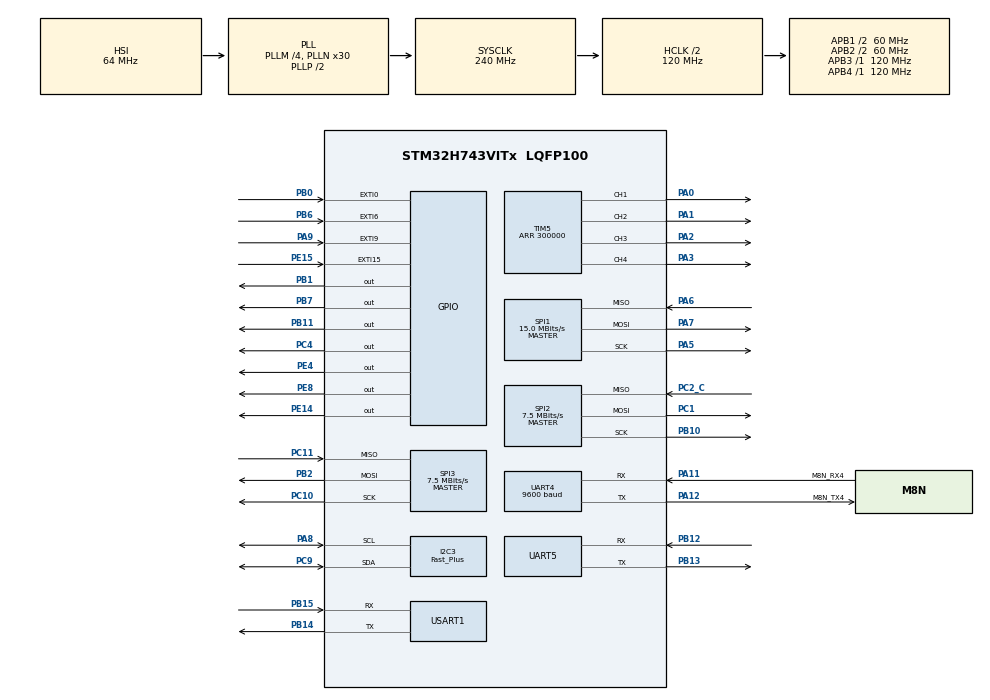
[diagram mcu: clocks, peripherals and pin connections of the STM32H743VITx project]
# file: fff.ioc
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CORTEX_M7.CPU_DCache=Disabled
CORTEX_M7.CPU_ICache=Disabled
CORTEX_M7.default_mode_Activation=1
Dma.I2C3_RX.0.Direction=DMA_PERIPH_TO_MEMORY
Dma.I2C3_RX.0.EventEnable=DISABLE
Dma.I2C3_RX.0.FIFOMode=DMA_FIFOMODE_DISABLE
Dma.I2C3_RX.0.Instance=DMA1_Stream0
Dma.I2C3_RX.0.MemDataAlignment=DMA_MDATAALIGN_BYTE
Dma.I2C3_RX.0.MemInc=DMA_MINC_ENABLE
Dma.I2C3_RX.0.Mode=DMA_NORMAL
Dma.I2C3_RX.0.PeriphDataAlignment=DMA_PDATAALIGN_BYTE
Dma.I2C3_RX.0.PeriphInc=DMA_PINC_DISABLE
Dma.I2C3_RX.0.Polarity=HAL_DMAMUX_REQ_GEN_RISING
Dma.I2C3_RX.0.Priority=DMA_PRIORITY_MEDIUM
Dma.I2C3_RX.0.RequestNumber=1
Dma.I2C3_RX.0.SignalID=NONE
Dma.I2C3_RX.0.SyncEnable=DISABLE
Dma.I2C3_RX.0.SyncPolarity=HAL_DMAMUX_SYNC_NO_EVENT
Dma.I2C3_RX.0.SyncRequestNumber=1
Dma.I2C3_RX.0.SyncSignalID=NONE
Dma.I2C3_TX.1.Direction=DMA_MEMORY_TO_PERIPH
Dma.I2C3_TX.1.EventEnable=DISABLE
Dma.I2C3_TX.1.FIFOMode=DMA_FIFOMODE_DISABLE
Dma.I2C3_TX.1.Instance=DMA1_Stream1
Dma.I2C3_TX.1.MemDataAlignment=DMA_MDATAALIGN_BYTE
Dma.I2C3_TX.1.MemInc=DMA_MINC_ENABLE
Dma.I2C3_TX.1.Mode=DMA_NORMAL
Dma.I2C3_TX.1.PeriphDataAlignment=DMA_PDATAALIGN_BYTE
Dma.I2C3_TX.1.PeriphInc=DMA_PINC_DISABLE
Dma.I2C3_TX.1.Polarity=HAL_DMAMUX_REQ_GEN_RISING
Dma.I2C3_TX.1.Priority=DMA_PRIORITY_MEDIUM
Dma.I2C3_TX.1.RequestNumber=1
Dma.I2C3_TX.1.SignalID=NONE
Dma.I2C3_TX.1.SyncEnable=DISABLE
Dma.I2C3_TX.1.SyncPolarity=HAL_DMAMUX_SYNC_NO_EVENT
Dma.I2C3_TX.1.SyncRequestNumber=1
Dma.I2C3_TX.1.SyncSignalID=NONE
Dma.Request0=I2C3_RX
Dma.Request1=I2C3_TX
Dma.Request2=SPI1_RX
Dma.Request3=SPI1_TX
Dma.Request4=SPI2_RX
Dma.Request5=SPI2_TX
Dma.SPI1_RX.2.Direction=DMA_PERIPH_TO_MEMORY
Dma.SPI1_RX.2.EventEnable=DISABLE
Dma.SPI1_RX.2.FIFOMode=DMA_FIFOMODE_DISABLE
Dma.SPI1_RX.2.Instance=DMA1_Stream2
Dma.SPI1_RX.2.MemDataAlignment=DMA_MDATAALIGN_BYTE
Dma.SPI1_RX.2.MemInc=DMA_MINC_ENABLE
Dma.SPI1_RX.2.Mode=DMA_NORMAL
Dma.SPI1_RX.2.PeriphDataAlignment=DMA_PDATAALIGN_BYTE
Dma.SPI1_RX.2.PeriphInc=DMA_PINC_DISABLE
Dma.SPI1_RX.2.Polarity=HAL_DMAMUX_REQ_GEN_RISING
Dma.SPI1_RX.2.Priority=DMA_PRIORITY_HIGH
Dma.SPI1_RX.2.RequestNumber=1
Dma.SPI1_RX.2.SignalID=NONE
Dma.SPI1_RX.2.SyncEnable=DISABLE
Dma.SPI1_RX.2.SyncPolarity=HAL_DMAMUX_SYNC_NO_EVENT
Dma.SPI1_RX.2.SyncRequestNumber=1
Dma.SPI1_RX.2.SyncSignalID=NONE
Dma.SPI1_TX.3.Direction=DMA_MEMORY_TO_PERIPH
Dma.SPI1_TX.3.EventEnable=DISABLE
Dma.SPI1_TX.3.FIFOMode=DMA_FIFOMODE_DISABLE
Dma.SPI1_TX.3.Instance=DMA1_Stream3
Dma.SPI1_TX.3.MemDataAlignment=DMA_MDATAALIGN_BYTE
Dma.SPI1_TX.3.MemInc=DMA_MINC_ENABLE
Dma.SPI1_TX.3.Mode=DMA_NORMAL
Dma.SPI1_TX.3.PeriphDataAlignment=DMA_PDATAALIGN_BYTE
Dma.SPI1_TX.3.PeriphInc=DMA_PINC_DISABLE
Dma.SPI1_TX.3.Polarity=HAL_DMAMUX_REQ_GEN_RISING
Dma.SPI1_TX.3.Priority=DMA_PRIORITY_HIGH
Dma.SPI1_TX.3.RequestNumber=1
Dma.SPI1_TX.3.SignalID=NONE
Dma.SPI1_TX.3.SyncEnable=DISABLE
Dma.SPI1_TX.3.SyncPolarity=HAL_DMAMUX_SYNC_NO_EVENT
Dma.SPI1_TX.3.SyncRequestNumber=1
Dma.SPI1_TX.3.SyncSignalID=NONE
Dma.SPI2_RX.4.Direction=DMA_PERIPH_TO_MEMORY
Dma.SPI2_RX.4.EventEnable=DISABLE
Dma.SPI2_RX.4.FIFOMode=DMA_FIFOMODE_DISABLE
Dma.SPI2_RX.4.Instance=DMA1_Stream4
Dma.SPI2_RX.4.MemDataAlignment=DMA_MDATAALIGN_BYTE
Dma.SPI2_RX.4.MemInc=DMA_MINC_ENABLE
Dma.SPI2_RX.4.Mode=DMA_NORMAL
Dma.SPI2_RX.4.PeriphDataAlignment=DMA_PDATAALIGN_BYTE
Dma.SPI2_RX.4.PeriphInc=DMA_PINC_DISABLE
Dma.SPI2_RX.4.Polarity=HAL_DMAMUX_REQ_GEN_RISING
Dma.SPI2_RX.4.Priority=DMA_PRIORITY_HIGH
Dma.SPI2_RX.4.RequestNumber=1
Dma.SPI2_RX.4.SignalID=NONE
Dma.SPI2_RX.4.SyncEnable=DISABLE
Dma.SPI2_RX.4.SyncPolarity=HAL_DMAMUX_SYNC_NO_EVENT
Dma.SPI2_RX.4.SyncRequestNumber=1
Dma.SPI2_RX.4.SyncSignalID=NONE
Dma.SPI2_TX.5.Direction=DMA_MEMORY_TO_PERIPH
Dma.SPI2_TX.5.EventEnable=DISABLE
Dma.SPI2_TX.5.FIFOMode=DMA_FIFOMODE_DISABLE
Dma.SPI2_TX.5.Instance=DMA1_Stream5
Dma.SPI2_TX.5.MemDataAlignment=DMA_MDATAALIGN_BYTE
Dma.SPI2_TX.5.MemInc=DMA_MINC_ENABLE
Dma.SPI2_TX.5.Mode=DMA_NORMAL
Dma.SPI2_TX.5.PeriphDataAlignment=DMA_PDATAALIGN_BYTE
Dma.SPI2_TX.5.PeriphInc=DMA_PINC_DISABLE
Dma.SPI2_TX.5.Polarity=HAL_DMAMUX_REQ_GEN_RISING
Dma.SPI2_TX.5.Priority=DMA_PRIORITY_HIGH
Dma.SPI2_TX.5.RequestNumber=1
Dma.SPI2_TX.5.SignalID=NONE
Dma.SPI2_TX.5.SyncEnable=DISABLE
Dma.SPI2_TX.5.SyncPolarity=HAL_DMAMUX_SYNC_NO_EVENT
Dma.SPI2_TX.5.SyncRequestNumber=1
Dma.SPI2_TX.5.SyncSignalID=NONE
I2C3.I2C_Speed_Mode=I2C_Fast_Plus
I2C3.Timing=0x00200A26
Mcu.Family=STM32H7
Mcu.Name=STM32H743VITx
Mcu.Package=LQFP100
NVIC.DMA1_Stream0_IRQn=true\:0\:0\:false\:false\:true\:false\:true\:true
NVIC.DMA1_Stream1_IRQn=true\:0\:0\:false\:false\:true\:false\:true\:true
NVIC.DMA1_Stream2_IRQn=true\:0\:0\:false\:false\:true\:false\:true\:true
NVIC.DMA1_Stream3_IRQn=true\:0\:0\:false\:false\:true\:false\:true\:true
NVIC.DMA1_Stream4_IRQn=true\:0\:0\:false\:false\:true\:false\:true\:true
NVIC.DMA1_Stream5_IRQn=true\:0\:0\:false\:false\:true\:false\:true\:true
NVIC.EXTI0_IRQn=true\:0\:0\:false\:false\:true\:true\:true\:true
NVIC.EXTI15_10_IRQn=true\:0\:0\:false\:false\:true\:true\:true\:true
NVIC.EXTI9_5_IRQn=true\:0\:0\:false\:false\:true\:true\:true\:true
NVIC.I2C3_ER_IRQn=true\:0\:0\:false\:false\:true\:true\:true\:true
NVIC.I2C3_EV_IRQn=true\:0\:0\:false\:false\:true\:true\:true\:true
NVIC.PriorityGroup=NVIC_PRIORITYGROUP_4
NVIC.SPI1_IRQn=true\:0\:0\:false\:false\:true\:true\:true\:true
NVIC.SPI2_IRQn=true\:0\:0\:false\:false\:true\:true\:true\:true
NVIC.SPI3_IRQn=true\:0\:0\:false\:false\:true\:true\:true\:true
NVIC.TIM2_IRQn=true\:0\:0\:false\:false\:true\:true\:true\:true
NVIC.UART4_IRQn=true\:0\:0\:false\:false\:true\:true\:true\:true
NVIC.UART5_IRQn=true\:0\:0\:false\:false\:true\:true\:true\:true
NVIC.USART1_IRQn=true\:0\:0\:false\:false\:true\:true\:true\:true
PA0.Signal=S_TIM5_CH1
PA1.Signal=S_TIM5_CH2
PA11.GPIO_Label=M8N_RX4
PA11.Mode=Asynchronous
PA11.Signal=UART4_RX
PA12.GPIO_Label=M8N_TX4
PA12.Mode=Asynchronous
PA12.Signal=UART4_TX
PA13\ (JTMS/SWDIO).Mode=Serial_Wire
PA13\ (JTMS/SWDIO).Signal=DEBUG_JTMS-SWDIO
PA14\ (JTCK/SWCLK).Mode=Serial_Wire
PA14\ (JTCK/SWCLK).Signal=DEBUG_JTCK-SWCLK
PA2.Signal=S_TIM5_CH3
PA3.Signal=S_TIM5_CH4
PA5.Mode=Full_Duplex_Master
PA5.Signal=SPI1_SCK
PA6.Mode=Full_Duplex_Master
PA6.Signal=SPI1_MISO
PA7.Mode=Full_Duplex_Master
PA7.Signal=SPI1_MOSI
PA8.GPIO_Pu=GPIO_PULLUP
PA8.Mode=I2C
PA8.Signal=I2C3_SCL
PA9.GPIO_ModeDefaultEXTI=GPIO_MODE_IT_RISING
PA9.GPIO_PuPd=GPIO_NOPULL
PA9.Signal=GPXTI9
PB0.GPIO_ModeDefaultEXTI=GPIO_MODE_IT_RISING
PB0.GPIO_PuPd=GPIO_NOPULL
PB0.Signal=GPXTI0
PB1.PinState=GPIO_PIN_SET
PB1.Signal=GPIO_Output
PB10.Mode=Full_Duplex_Master
PB10.Signal=SPI2_SCK
PB11.GPIO_PuPd=GPIO_NOPULL
PB11.PinState=GPIO_PIN_SET
PB11.Signal=GPIO_Output
PB12.Mode=Asynchronous
PB12.Signal=UART5_RX
PB13.Mode=Asynchronous
PB13.Signal=UART5_TX
PB14.Mode=Asynchronous
PB14.Signal=USART1_TX
PB15.Mode=Asynchronous
PB15.Signal=USART1_RX
PB2.Mode=Full_Duplex_Master
PB2.Signal=SPI3_MOSI
PB6.GPIO_PuPd=GPIO_PULLDOWN
PB6.Signal=GPXTI6
PB7.Signal=GPIO_Output
PB8.GPIO_Pu=GPIO_PULLUP
PB8.Signal=I2C1_SCL
PB9.GPIO_Pu=GPIO_PULLUP
PB9.Signal=I2C1_SDA
PC1.Mode=Full_Duplex_Master
PC1.Signal=SPI2_MOSI
PC10.Mode=Full_Duplex_Master
PC10.Signal=SPI3_SCK
PC11.Mode=Full_Duplex_Master
PC11.Signal=SPI3_MISO
PC2_C.Mode=Full_Duplex_Master
PC2_C.Signal=SPI2_MISO
PC4.PinState=GPIO_PIN_SET
PC4.Signal=GPIO_Output
PC9.GPIO_Pu=GPIO_PULLUP
PC9.Mode=I2C
PC9.Signal=I2C3_SDA
PE14.Signal=GPIO_Output
PE15.GPIO_PuPd=GPIO_NOPULL
PE15.Signal=GPXTI15
PE4.Signal=GPIO_Output
PE8.Signal=GPIO_Output
PH0-OSC_IN\ (PH0).Mode=HSE-External-Clock-Source
PH0-OSC_IN\ (PH0).Signal=RCC_OSC_IN
ProjectManager.HeapSize=0x200
ProjectManager.StackSize=0x400
ProjectManager.TargetToolchain=STM32CubeIDE
RCC.ADCFreq_Value=129000000
RCC.APB1Freq_Value=60000000
RCC.APB2Freq_Value=60000000
RCC.APB3Freq_Value=120000000
RCC.APB4Freq_Value=120000000
RCC.CortexFreq_Value=240000000
RCC.D2PPRE1=RCC_APB1_DIV2
RCC.D2PPRE2=RCC_APB2_DIV2
RCC.DIVM1=4
RCC.DIVN1=30
RCC.DIVQ1=4
RCC.HCLKFreq_Value=120000000
RCC.HPRE=RCC_HCLK_DIV2
RCC.PLL2FRACN=0
RCC.PLL3FRACN=0
RCC.PLLFRACN=0
RCC.SYSCLKFreq_VALUE=240000000
RCC.SYSCLKSource=RCC_SYSCLKSOURCE_PLLCLK
RCC.USBFreq_Value=120000000
SH.S_TIM5_CH1.0=TIM5_CH1,PWM Generation1 CH1
SH.S_TIM5_CH2.0=TIM5_CH2,PWM Generation2 CH2
SH.S_TIM5_CH3.0=TIM5_CH3,PWM Generation3 CH3
SH.S_TIM5_CH4.0=TIM5_CH4,PWM Generation4 CH4
SPI1.BaudRatePrescaler=SPI_BAUDRATEPRESCALER_8
SPI1.CLKPhase=SPI_PHASE_2EDGE
SPI1.CLKPolarity=SPI_POLARITY_HIGH
SPI1.CalculateBaudRate=15.0 MBits/s
SPI1.DataSize=SPI_DATASIZE_8BIT
SPI1.Direction=SPI_DIRECTION_2LINES
SPI1.Mode=SPI_MODE_MASTER
SPI1.VirtualType=VM_MASTER
SPI2.BaudRatePrescaler=SPI_BAUDRATEPRESCALER_16
SPI2.CLKPhase=SPI_PHASE_2EDGE
SPI2.CLKPolarity=SPI_POLARITY_HIGH
SPI2.CalculateBaudRate=7.5 MBits/s
SPI2.DataSize=SPI_DATASIZE_8BIT
SPI2.Direction=SPI_DIRECTION_2LINES
SPI2.Mode=SPI_MODE_MASTER
SPI2.VirtualType=VM_MASTER
SPI3.BaudRatePrescaler=SPI_BAUDRATEPRESCALER_16
SPI3.CLKPhase=SPI_PHASE_2EDGE
SPI3.CLKPolarity=SPI_POLARITY_HIGH
SPI3.CalculateBaudRate=7.5 MBits/s
SPI3.DataSize=SPI_DATASIZE_8BIT
SPI3.Direction=SPI_DIRECTION_2LINES
SPI3.Mode=SPI_MODE_MASTER
SPI3.VirtualType=VM_MASTER
TIM2.AutoReloadPreload=TIM_AUTORELOAD_PRELOAD_ENABLE
TIM2.Period=300000
TIM5.AutoReloadPreload=TIM_AUTORELOAD_PRELOAD_ENABLE
TIM5.Channel-PWM\ Generation1\ CH1=TIM_CHANNEL_1
TIM5.Channel-PWM\ Generation2\ CH2=TIM_CHANNEL_2
TIM5.Channel-PWM\ Generation3\ CH3=TIM_CHANNEL_3
TIM5.Channel-PWM\ Generation4\ CH4=TIM_CHANNEL_4
TIM5.OCFastMode_PWM-PWM\ Generation1\ CH1=TIM_OCFAST_ENABLE
TIM5.OCFastMode_PWM-PWM\ Generation2\ CH2=TIM_OCFAST_ENABLE
TIM5.OCFastMode_PWM-PWM\ Generation3\ CH3=TIM_OCFAST_ENABLE
TIM5.OCFastMode_PWM-PWM\ Generation4\ CH4=TIM_OCFAST_ENABLE
TIM5.Period=300000
TIM5.Pulse-PWM\ Generation1\ CH1=0
TIM5.Pulse-PWM\ Generation2\ CH2=0
TIM5.Pulse-PWM\ Generation3\ CH3=0
TIM5.Pulse-PWM\ Generation4\ CH4=0
UART4.BaudRate=9600
USART1.VirtualMode-Asynchronous=VM_ASYNC
VP_MEMORYMAP_VS_MEMORYMAP.Mode=CurAppReg
VP_TIM2_VS_ClockSourceINT.Mode=Internal
VP_TIM5_VS_ClockSourceINT.Mode=Internal
board=custom

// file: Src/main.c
/* USER CODE BEGIN Header */
/**
  ******************************************************************************
  * @file           : main.c
  * @brief          : Main program body
  ******************************************************************************
  * @attention
  *
  * Copyright (c) 2025 STMicroelectronics.
  * All rights reserved.
  *
  * This software is licensed under terms that can be found in the LICENSE file
  * in the root directory of this software component.
  * If no LICENSE file comes with this software, it is provided AS-IS.
  *
  ******************************************************************************
  */
/* USER CODE END Header */
#include "main.h"

/* USER CODE BEGIN Includes */
//#define USE_HAL_DRIVER
#define ARM_MATH_CM7
#include <arm_math.h>
#include <stdio.h>
#include <stm32h7xx_hal_gpio.h>
#include "stm32h7xx_ll_tim.h"
//#include "mpu6050.h"
//#include "mpu9250.h"
//#include "bmi160.h"
//#include "qmc5883.h"
//#include "dps310.h"
#include "icm45686.h"
#include "stm32h7xx_it.h"
#include "stm32h7xx_hal_i2c.h"
#include "fs-ia6b.h"
//#include "m8n.h"
#include <axis3f.h>
#include "notchfilter.h"
#include "lpf2p.h"
#include "pid.h"
//#include <kalman_core.h>

/* USER CODE END Includes */

/* USER CODE BEGIN PM */
extern int16_t x_acc, y_acc, z_acc;
extern int16_t x_gyro, y_gyro, z_gyro;
int8_t data_ready_flag = 0;
uint32_t start, stop;
float usICM, usBMI, usDPS, usM8N, usFS, usQMC, usInitNotchArdu, usInitNotchPhils, usFFT;

////when working on the PID controller code.
/////////////////pitch conntroller//////////////////////////
extern float icm_pitch, icm_roll;
extern float ICM_GX, ICM_GY, ICM_GZ;
//float pitch_reference, pitch_error, pitch_p;
//float pitch_error_sum, pitch_i;
//float pitch_derivative, pitch_d;
//int OuterLoop_counter = 0;
//float pitch_out_kp, pitch_out_ki, pitch_out_kd, pitch_pid;
////pitch rate controller
//float pitch_rate_reference, pitch_rate_error, pitch_rate_p;
//float pitch_rate_error_sum, pitch_rate_i;
//float pitch_rate_derivative, pitch_rate_d;
//float pitch_in_kp, pitch_in_ki, pitch_in_kd, pitch_rate_pid;
////variables for the heavy LPF for the pitch rate used in the D-term of the inner loop PID
//float Gx_filt, Gx_filt_prev, alpha;
//
//////////////roll controller////////////////
//float roll_reference, roll_error, roll_p;
//float roll_error_sum, roll_i;
//float roll_derivative, roll_d;
////int OuterLoop_counter = 0;
//float roll_out_kp, roll_out_ki, roll_out_kd, roll_pid;
////roll rate controller
//float roll_rate_reference, roll_rate_error, roll_rate_p;
//float roll_rate_error_sum, roll_rate_i;
//float roll_rate_derivative, pitch_rate_d;
//float roll_in_kp, roll_in_ki, roll_in_kd, roll_rate_pid;
////variables for the heavy LPF for the roll rate used in the D-term of the inner loop PID
//float Gy_filt, Gy_filt_prev;

//notchfilter
NotchFilterFloat First_Harmonic_Notch_GX,  First_Harmonic_Notch_GY,  First_Harmonic_Notch_GZ;
NotchFilterFloat Second_Harmonic_Notch_GX, Second_Harmonic_Notch_GY, Second_Harmonic_Notch_GZ;
NotchFilterFloat Third_Harmonic_Notch_GX,  Third_Harmonic_Notch_GY,  Third_Harmonic_Notch_GZ;

//LPF2P
lpf2pData lpfData_GX, lpfData_GY, lpfData_GZ;

/* USER CODE END PM */

I2C_HandleTypeDef hi2c3;
DMA_HandleTypeDef hdma_i2c3_rx;
DMA_HandleTypeDef hdma_i2c3_tx;

SPI_HandleTypeDef hspi1;
SPI_HandleTypeDef hspi2;
SPI_HandleTypeDef hspi3;
DMA_HandleTypeDef hdma_spi1_rx;
DMA_HandleTypeDef hdma_spi1_tx;
DMA_HandleTypeDef hdma_spi2_rx;
DMA_HandleTypeDef hdma_spi2_tx;

TIM_HandleTypeDef htim2;

/* USER CODE BEGIN PV */
extern uint8_t uart1_rx_flag;
extern uint8_t uart1_rx_data;
extern uint8_t data_ready;
extern char rx_buffer[20];

extern uint8_t uart4_rx_flag;
extern uint8_t uart4_rx_data;

extern uint8_t uart5_rx_flag;
extern uint8_t uart5_rx_data;

extern uint8_t m8n_rx_buf[36];			//36-byte which is the size of 1-UBX-message frame
extern uint8_t m8n_rx_cplt_flag;		//flag to see that the recieving is completed

extern uint8_t ibus_rx_buf[100];
extern uint8_t ibus_rx_cplt_flag;

extern uint8_t tim2_2500us_flag;
extern uint8_t tim2_1s_flag;

//extern int lv;

//qmc5883p---magnetometer
extern uint8_t I2C_QMC5883P_DMA_data_ready_flag;
extern uint8_t QMC_MAG_rxData[6];

//icm45686
extern uint8_t ICM45686_INT_FLAG;

//BMI160
extern uint8_t BMI160_INT_FLAG;

//FFT variables
#define FFT_LENGTH 512
#define SAMPLING_RATE 1600

float32_t input_fft[FFT_LENGTH];
float32_t output_fft[FFT_LENGTH];
float32_t output_fft_mag[FFT_LENGTH / 2];

arm_rfft_fast_instance_f32 fft_instance;

float FFT_MAX_FREQ = 0;
float FFT_MAX_FREQ_MAG = 0;
float FFT_MAX_FREQ_PREV = 0;
//float FFT_MAG_VALUES = 0;

/* USER CODE END PV */

void SystemClock_Config(void);
static void MPU_Config(void);
static void MX_GPIO_Init(void);
static void MX_DMA_Init(void);
static void MX_USART1_UART_Init(void);
static void MX_SPI1_Init(void);
static void MX_SPI2_Init(void);
static void MX_SPI3_Init(void);
static void MX_UART4_Init(void);
static void MX_UART5_Init(void);
static void MX_I2C3_Init(void);
static void MX_TIM5_Init(void);
static void MX_TIM2_Init(void);
/* USER CODE BEGIN PFP */
int Is_iBus_Throttle_Min(void);
/* USER CODE END PFP */

/* USER CODE BEGIN 0 */

int _write(int file, char* p, int len)
{
	for(int i=0; i<len; i++)
	{

		if (p[i] == '\n') {
		    while(!LL_USART_IsActiveFlag_TXE(USART1));
		       LL_USART_TransmitData8(USART1, '\r');   // add CR before LF
		}

		while(!LL_USART_IsActiveFlag_TXE(USART1));
		LL_USART_TransmitData8(USART1, *(p+i));

	}
	return len;
}

//Struct_BMI160 BMI160;
//Struct_DPS310 DPS310;
Struct_ICM45686 ICM45686;
//Struct_QMC5883P QMC5883P;

//kalmanCoreData_t this;
//kalmanCoreParams_t params;

Axis3f icm45686_gyro;
Axis3f icm45686_acc;
Axis3f_Bias gyro_bias, acc_bias;

Axis3f bmi160_gyro;
Axis3f bmi160_acc;

//int debugcounter1;
unsigned int ccr1, ccr2, ccr3, ccr4;

//float aaa=0;
//float32_t ab[3][2];
/* USER CODE END 0 */

int main(void)
{

  /* MPU Configuration--------------------------------------------------------*/
  MPU_Config();

  /* MCU Configuration--------------------------------------------------------*/

  /* Reset of all peripherals, Initializes the Flash interface and the Systick. */
  HAL_Init();

  /* Configure the system clock */
  SystemClock_Config();
  HAL_Delay(3000);

  /* Initialize all configured peripherals */
  MX_GPIO_Init();
  MX_DMA_Init();
  MX_USART1_UART_Init();
  MX_SPI1_Init();
  MX_SPI2_Init();
  MX_SPI3_Init();
  MX_UART4_Init();
  MX_UART5_Init();
  MX_I2C3_Init();
  MX_TIM5_Init();
  MX_TIM2_Init();
  /* USER CODE BEGIN 2 */

  	LL_USART_EnableIT_RXNE_RXFNE(UART5);
  	LL_USART_EnableIT_RXNE_RXFNE(USART1);
  	LL_USART_EnableIT_RXNE_RXFNE(UART4);

  	//M8N_Initialization();
  	ICM45686_Initialization();
  	//BMI160_Initialization1();
  	//DPS310_Initialization();
  	//QMC5883P_Initialization(&hi2c3);
  	//MPU6050_Init(&hi2c1);
  	//MPU9250_Init(&MPU9250, dev,  accScale,  gyroScale,  magScale);

  	lpf2pInit(&lpfData_GX, 1600, 100);
  	lpf2pInit(&lpfData_GY, 1600, 100);
  	lpf2pInit(&lpfData_GZ, 1600, 100);

  	LL_TIM_EnableCounter(TIM2);
  	LL_TIM_EnableIT_UPDATE(TIM2);
  	LL_TIM_EnableCounter(TIM5);
  	LL_TIM_CC_EnableChannel(TIM5, LL_TIM_CHANNEL_CH1);
  	LL_TIM_CC_EnableChannel(TIM5, LL_TIM_CHANNEL_CH2);
  	LL_TIM_CC_EnableChannel(TIM5, LL_TIM_CHANNEL_CH3);
  	LL_TIM_CC_EnableChannel(TIM5, LL_TIM_CHANNEL_CH4);

	while(Is_iBus_Throttle_Min() == 0);

  	// Enable DWT CYCCNT
  	CoreDebug->DEMCR |= CoreDebug_DEMCR_TRCENA_Msk;
  	DWT->CYCCNT = 0;
  	DWT->CTRL |= DWT_CTRL_CYCCNTENA_Msk;

	//uint32_t nowMs = 0;
//  	int dt=0;
//	int quadisflying=0;
//	predictDt(&this, &params,&acc, &gyro, dt, quadisflying);
  	//kalmanCoreDefaultParams(&params);
  	//kalmanCoreInit(&this, &params, nowMs);

  	//arm_rfft_fast_init_f32(&fft_instance, FFT_LENGTH);
  	int fft_counter = 0;
  	//float ffff;

  	float kp=0, ki=0, kd=0;

  	pitch.out.kp = 1.5;
    pitch.out.ki = 0;
    pitch.out.kd = 0;
    pitch.in.kp  = 400;
    pitch.in.ki  = 250;
    pitch.in.kd  = 1;
    pitch.out.outer_loop_counter = 0;

    roll.out.kp  = 1.5;
    roll.out.ki  = 0;
    roll.out.kd  = 0;
    roll.in.kp   = 400;
    roll.in.ki   = 250;
    roll.in.kd   = 1;
    roll.out.outer_loop_counter = 0;

   // yaw.out.kp  = 1.1;
	//yaw.out.ki  = 0;
	//yaw.out.kd  = 0;
	yaw_rate.kp   = 100;
	yaw_rate.ki   = 20;
	yaw_rate.kd   = 0;
	//yaw.out.outer_loop_counter = 0;

  /* USER CODE END 2 */

  /* Infinite loop */
  while (1)
  {

    /* USER CODE BEGIN 3 */
	  //start = DWT->CYCCNT;

	  if(tim2_1s_flag == 0)
	  {fft_counter = 0;}

	  if (data_ready)
	  {
	      data_ready = 0;
	      sscanf(rx_buffer, "%f,%f,%f", &kp, &ki, &kd);
	  }

//	  pitch_out_kp	=	1.1;
//	  pitch_out_ki	=	0;
//	  pitch_out_kd	=	0;
//
//	  pitch_in_kp	=	700;
//	  pitch_in_ki	=	300;
//	  pitch_in_kd	=	0;

	  // 400 Hz loop (every 0.0025s)
	  if(tim2_2500us_flag == 1)
	  {

		  tim2_2500us_flag = 0;
		  //OuterLoop_counter++;
		  // HAL_GPIO_TogglePin(GPIOE, GPIO_PIN_8);

		  Double_Roll_Pitch_PID_Calculation(&pitch, (iBus.RV - 1500) * 0.05f, icm_pitch - 0.5, ICM_GX);
		  Double_Roll_Pitch_PID_Calculation(&roll, (iBus.RH - 1500) * 0.05f, icm_roll - 1.0, ICM_GY);

		  if(iBus.LV < 1030)
		  {
			  Reset_All_PID_Integrator();
		  }

		  Single_Yaw_Rate_PID_Calculation(&yaw_rate, (iBus.LH - 1500) * 0.5f, ICM_GZ);

		  // 200 Hz loop (every 0.005s)
//		  if(OuterLoop_counter % 2 == 0)
//		  {
//
//
//			  pitch_reference = (iBus.RV - 1500) * 0.05f;	//mapping the RV stick to pitch target angle
//			  pitch_error = pitch_reference - icm_pitch;
//			  pitch_p = pitch_error * pitch_out_kp;
//
//			  pitch_error_sum = pitch_error_sum + pitch_error * 0.01;
//			  if(iBus.LV < 1030) pitch_error_sum = 0;
//			  pitch_i = pitch_error_sum * pitch_out_ki;
//
//			  pitch_derivative = ICM_GX;
//			  pitch_d = -pitch_derivative * pitch_out_kd;
//
//			  pitch_pid = pitch_p + pitch_i + pitch_d;
//		  }
//
//		  pitch_rate_reference = pitch_pid;//((iBus.RV - 1500) * 0.1f);//pitch_pid;//(((iBus.RV - 1500) * 0.1f) - icm_pitch) * 2;
//		  pitch_rate_error = pitch_rate_reference - ICM_GX;
//		  pitch_rate_p = pitch_rate_error * pitch_in_kp;
//
//
//		  pitch_rate_error_sum = pitch_rate_error_sum + pitch_rate_error * 0.0025;
//		  if(iBus.LV < 1030) pitch_rate_error_sum = 0;
//		  pitch_rate_i = pitch_rate_error_sum * pitch_in_ki;
//
//		  alpha = 0.24;	// Fc = 20hz, sampling at 400hz
//		  Gx_filt = (1 - alpha) * Gx_filt + alpha * ICM_GX;
//		  pitch_rate_derivative = (Gx_filt - Gx_filt_prev) / 0.0025;//if you want to use the D-term you should use heavy LPF only for the rate needed in
//		  Gx_filt_prev = Gx_filt;									//the D term, Fc = 20hz
//		  pitch_rate_d = -pitch_rate_derivative * pitch_in_kd;
//
//		  pitch_rate_pid = pitch_rate_p + pitch_rate_i + pitch_rate_d;

//		  ccr1 = 120000 + (iBus.LV - 1000) * 120 - pitch_rate_pid;
//		  ccr2 = 120000 + (iBus.LV - 1000) * 120 + pitch_rate_pid;
//		  ccr3 = 120000 + (iBus.LV - 1000) * 120 + pitch_rate_pid;
//		  ccr4 = 120000 + (iBus.LV - 1000) * 120 - pitch_rate_pid;

		  ccr1 = 120000 + (iBus.LV - 1000) * 120 - pitch.in.pid_result + roll.in.pid_result - yaw_rate.pid_result;
		  ccr2 = 120000 + (iBus.LV - 1000) * 120 + pitch.in.pid_result + roll.in.pid_result + yaw_rate.pid_result;
		  ccr3 = 120000 + (iBus.LV - 1000) * 120 + pitch.in.pid_result - roll.in.pid_result - yaw_rate.pid_result;
		  ccr4 = 120000 + (iBus.LV - 1000) * 120 - pitch.in.pid_result - roll.in.pid_result + yaw_rate.pid_result;

	  }

	  //start = DWT->CYCCNT;
	  //BMI160
//	  if (BMI160_INT_FLAG)
//	  {
//		  start = DWT->CYCCNT;
//		  BMI160_Get6AxisRawData(&BMI160, &bmi160_gyro, &bmi160_acc);
//		  stop = DWT->CYCCNT;
//		  usBMI = (stop - start) / (SystemCoreClock / 1000000.0f); // convert to microseconds
//
//		  BMI160_INT_FLAG = 0;
//		  HAL_GPIO_TogglePin(GPIOE, GPIO_PIN_14);
//	  }

	  //ICM45686
	  //if (HAL_GPIO_ReadPin(GPIOB, GPIO_PIN_0) == GPIO_PIN_SET)

	  if (ICM45686_INT_FLAG)
	  {
		//start = DWT->CYCCNT;
		ICM45686_Get3AxisGyroRawData(&ICM45686, &icm45686_gyro, &icm45686_acc, &gyro_bias);
		//stop = DWT->CYCCNT;
		//usICM = (stop - start) / (SystemCoreClock / 1000000.0f); // convert to microseconds

		//fft_counter is define directly under the initialization of fft
		if(tim2_1s_flag == 1)
		{
			if( fft_counter < FFT_LENGTH)
			{
				//if (ICM45686_INT_FLAG)
				//{
					//ICM45686_Get3AxisGyroRawData(&ICM45686, &icm45686_gyro, &icm45686_acc, &gyro_bias);
					input_fft[fft_counter] = ICM_GX;
					fft_counter++;
				//}
			}
			if(fft_counter == FFT_LENGTH)
			{
				fft_counter++;
				//if(iBus.SwC != 1500)
				//{
					//start = DWT->CYCCNT;
					arm_rfft_fast_f32(&fft_instance, input_fft, output_fft, 0);
					arm_cmplx_mag_f32(output_fft, output_fft_mag, FFT_LENGTH/2);
					//stop = DWT->CYCCNT;
					//usFFT = (stop - start) / (SystemCoreClock / 1000000.0f); // convert to microseconds
				//}
				FFT_MAX_FREQ_MAG = 0;
				for(int fft_counter1 = 1; fft_counter1 < FFT_LENGTH/2; fft_counter1++)
				{
					//if(iBus.SwC == 1500)
					//{
						//printf("%f\n", output_fft_mag[fft_counter1]);
						//FFT_MAG_VALUES = output_fft_mag[fft_counter1];
					//}
					if(output_fft_mag[fft_counter1] > FFT_MAX_FREQ_MAG)					//computing the the frequency with maximum magnitude to be notched(mototrs freq)
					{
						FFT_MAX_FREQ = fft_counter1 * ((float)SAMPLING_RATE / FFT_LENGTH);
						FFT_MAX_FREQ_MAG = output_fft_mag[fft_counter1];
					}
					if(FFT_MAX_FREQ > 60    ||  FFT_MAX_FREQ < 30)						//when the motors frequeuncy notched it is no more maximum
					{																	//so this conditions to preserve on the notch frequency to stay at motors freq
						FFT_MAX_FREQ = FFT_MAX_FREQ_PREV;
					}
					else
					{
						FFT_MAX_FREQ_PREV = FFT_MAX_FREQ;
					}
				}
					//start = DWT->CYCCNT;
//					NotchFilter_Init(&notchFilt, FFT_MAX_FREQ, 10, SAMPLING_RATE);
//					stop = DWT->CYCCNT;
//					usInitNotchPhils = (stop - start) / (SystemCoreClock / 1000000.0f); // convert to microseconds
					//start = DWT->CYCCNT;
					notch_init(&First_Harmonic_Notch_GX,  1600,  FFT_MAX_FREQ,  20,  40);
					notch_init(&First_Harmonic_Notch_GY,  1600,  FFT_MAX_FREQ,  20,  40);
					notch_init(&First_Harmonic_Notch_GZ,  1600,  FFT_MAX_FREQ,  20,  40);
					//stop = DWT->CYCCNT;
					//usInitNotchArdu = (stop - start) / (SystemCoreClock / 1000000.0f); // convert to microseconds
					notch_init(&Second_Harmonic_Notch_GX,  1600,  FFT_MAX_FREQ * 2,  20,  40);
					notch_init(&Second_Harmonic_Notch_GY,  1600,  FFT_MAX_FREQ * 2,  20,  40);
					notch_init(&Second_Harmonic_Notch_GZ,  1600,  FFT_MAX_FREQ * 2,  20,  40);

					notch_init(&Third_Harmonic_Notch_GX,  1600,  FFT_MAX_FREQ * 3,  20,  40);
					notch_init(&Third_Harmonic_Notch_GY,  1600,  FFT_MAX_FREQ * 3,  20,  40);
					notch_init(&Third_Harmonic_Notch_GZ,  1600,  FFT_MAX_FREQ * 3,  20,  40);
					//stop = DWT->CYCCNT;
					//usInitNotchArdu = (stop - start) / (SystemCoreClock / 1000000.0f); // convert to microseconds

				tim2_1s_flag = 0;

			}

		}

		ICM45686_INT_FLAG = 0;
	  	//HAL_GPIO_TogglePin(GPIOE, GPIO_PIN_8);

	  	//int dt=0;
	  	//int quadisflying=0;
	  	//predictDt(&this, &params,&acc, &gyro, dt, quadisflying);
	  }

	  //DPS310
	  //start = DWT->CYCCNT;///////////////////////////////////////////////////////////////////////////////////////////
	  //DPS310_GetTempPres(&DPS310);////////////////////////////////////////////////////////////////////////////////////////////////////////////////////////////////////////////////////
	  //stop = DWT->CYCCNT;///////////////////////////////////////////////////////////////////////////////////////////////////////////////
	  //usDPS = (stop - start) / (SystemCoreClock / 1000000.0f); // convert to microseconds

	  //QCM5883P
//	  if(I2C_QMC5883P_DMA_data_ready_flag)
//	  {
//		  if (HAL_I2C_GetState(&hi2c3) == HAL_I2C_STATE_READY)
//		  {
//			  I2C_QMC5883P_DMA_data_ready_flag = 0;
//			  start = DWT->CYCCNT;
//			  QMC5883P_Get3AxisGyroRawData(&QMC5883P, QMC_MAG_rxData);
//			  stop = DWT->CYCCNT;
//			  usQMC = (stop - start) / (SystemCoreClock / 1000000.0f); // convert to microseconds
//		  }
//	  }

//	  //code for the gps
//	  if(m8n_rx_cplt_flag == 1)
//	  {
//		  m8n_rx_cplt_flag = 0;
//		  if(M8N_UBX_CHKSUM_Check(&m8n_rx_buf[0], 100) == 1)
//		  {
//			  //start = DWT->CYCCNT;
//			  M8N_UBX_NAV_PVT_Parsing(&m8n_rx_buf[0], &pvt);
//			  //stop = DWT->CYCCNT;
//			  //usM8N = (stop - start) / (SystemCoreClock / 1000000.0f); // convert to microseconds
//		  }
//	  }

	  //code for the ibus
	  if(ibus_rx_cplt_flag == 1)
	  {
		  ibus_rx_cplt_flag = 0;
		  if(iBus_Check_CHKSUM(&ibus_rx_buf[0], 32) == 1)
		  {
			  //start = DWT->CYCCNT;
			  iBus_Parsing(&ibus_rx_buf[0], &iBus);
			  //stop = DWT->CYCCNT;
			  //usFS = (stop - start) / (SystemCoreClock / 1000000.0f); // convert to microseconds

			  if(iBus_isActiveFailsafe(&iBus) == 1)
			  {
				  //counter1--;	//if falesafe is happenning decreasment the counter by one
			  }
			  else
			  {
				  //counter1++;
			  }
		  }
	  }

	  if(iBus.LV > 1030)
	  {
		  TIM5->CCR1 = ccr1 > 240000 ? 240000 : ccr1 < 120000 ? 120000 : ccr1;
		  TIM5->CCR2 = ccr2 > 240000 ? 240000 : ccr2 < 120000 ? 120000 : ccr2;
		  TIM5->CCR3 = ccr3 > 240000 ? 240000 : ccr3 < 120000 ? 120000 : ccr3;
		  TIM5->CCR4 = ccr4 > 240000 ? 240000 : ccr4 < 120000 ? 120000 : ccr4;
	  }
	  else
	  {
		  TIM5->CCR1 = 120000;
		  TIM5->CCR2 = 120000;
		  TIM5->CCR3 = 120000;
		  TIM5->CCR4 = 120000;
	  }
//	  stop = DWT->CYCCNT;
//	  usBMI = (stop - start) / (SystemCoreClock / 1000000.0f); // convert to microseconds

  }
  /* USER CODE END 3 */
}

void SystemClock_Config(void)
{
  RCC_OscInitTypeDef RCC_OscInitStruct = {0};
  RCC_ClkInitTypeDef RCC_ClkInitStruct = {0};

  /** Supply configuration update enable
  */
  HAL_PWREx_ConfigSupply(PWR_LDO_SUPPLY);

  /** Configure the main internal regulator output voltage
  */
  __HAL_PWR_VOLTAGESCALING_CONFIG(PWR_REGULATOR_VOLTAGE_SCALE2);

  while(!__HAL_PWR_GET_FLAG(PWR_FLAG_VOSRDY)) {}

  /** Initializes the RCC Oscillators according to the specified parameters
  * in the RCC_OscInitTypeDef structure.
  */
  RCC_OscInitStruct.OscillatorType = RCC_OSCILLATORTYPE_HSI;
  RCC_OscInitStruct.HSIState = RCC_HSI_DIV1;
  RCC_OscInitStruct.HSICalibrationValue = RCC_HSICALIBRATION_DEFAULT;
  RCC_OscInitStruct.PLL.PLLState = RCC_PLL_ON;
  RCC_OscInitStruct.PLL.PLLSource = RCC_PLLSOURCE_HSI;
  RCC_OscInitStruct.PLL.PLLM = 4;
  RCC_OscInitStruct.PLL.PLLN = 30;
  RCC_OscInitStruct.PLL.PLLP = 2;
  RCC_OscInitStruct.PLL.PLLQ = 4;
  RCC_OscInitStruct.PLL.PLLR = 2;
  RCC_OscInitStruct.PLL.PLLRGE = RCC_PLL1VCIRANGE_3;
  RCC_OscInitStruct.PLL.PLLVCOSEL = RCC_PLL1VCOWIDE;
  RCC_OscInitStruct.PLL.PLLFRACN = 0;
  if (HAL_RCC_OscConfig(&RCC_OscInitStruct) != HAL_OK)
  {
    Error_Handler();
  }

  /** Initializes the CPU, AHB and APB buses clocks
  */
  RCC_ClkInitStruct.ClockType = RCC_CLOCKTYPE_HCLK|RCC_CLOCKTYPE_SYSCLK
                              |RCC_CLOCKTYPE_PCLK1|RCC_CLOCKTYPE_PCLK2
                              |RCC_CLOCKTYPE_D3PCLK1|RCC_CLOCKTYPE_D1PCLK1;
  RCC_ClkInitStruct.SYSCLKSource = RCC_SYSCLKSOURCE_PLLCLK;
  RCC_ClkInitStruct.SYSCLKDivider = RCC_SYSCLK_DIV1;
  RCC_ClkInitStruct.AHBCLKDivider = RCC_HCLK_DIV2;
  RCC_ClkInitStruct.APB3CLKDivider = RCC_APB3_DIV1;
  RCC_ClkInitStruct.APB1CLKDivider = RCC_APB1_DIV2;
  RCC_ClkInitStruct.APB2CLKDivider = RCC_APB2_DIV2;
  RCC_ClkInitStruct.APB4CLKDivider = RCC_APB4_DIV1;

  if (HAL_RCC_ClockConfig(&RCC_ClkInitStruct, FLASH_LATENCY_2) != HAL_OK)
  {
    Error_Handler();
  }
}

static void MX_I2C3_Init(void)
{

  hi2c3.Instance = I2C3;
  hi2c3.Init.Timing = 0x00200A26;
  hi2c3.Init.OwnAddress1 = 0;
  hi2c3.Init.AddressingMode = I2C_ADDRESSINGMODE_7BIT;
  hi2c3.Init.DualAddressMode = I2C_DUALADDRESS_DISABLE;
  hi2c3.Init.OwnAddress2 = 0;
  hi2c3.Init.OwnAddress2Masks = I2C_OA2_NOMASK;
  hi2c3.Init.GeneralCallMode = I2C_GENERALCALL_DISABLE;
  hi2c3.Init.NoStretchMode = I2C_NOSTRETCH_DISABLE;
  if (HAL_I2C_Init(&hi2c3) != HAL_OK)
  {
    Error_Handler();
  }

  /** Configure Analogue filter
  */
  if (HAL_I2CEx_ConfigAnalogFilter(&hi2c3, I2C_ANALOGFILTER_ENABLE) != HAL_OK)
  {
    Error_Handler();
  }

  /** Configure Digital filter
  */
  if (HAL_I2CEx_ConfigDigitalFilter(&hi2c3, 0) != HAL_OK)
  {
    Error_Handler();
  }

  /** I2C Enable Fast Mode Plus
  */
  HAL_I2CEx_EnableFastModePlus(I2C_FASTMODEPLUS_I2C3);

}

static void MX_SPI1_Init(void)
{

  /* SPI1 parameter configuration*/
  hspi1.Instance = SPI1;
  hspi1.Init.Mode = SPI_MODE_MASTER;
  hspi1.Init.Direction = SPI_DIRECTION_2LINES;
  hspi1.Init.DataSize = SPI_DATASIZE_8BIT;
  hspi1.Init.CLKPolarity = SPI_POLARITY_HIGH;
  hspi1.Init.CLKPhase = SPI_PHASE_2EDGE;
  hspi1.Init.NSS = SPI_NSS_SOFT;
  hspi1.Init.BaudRatePrescaler = SPI_BAUDRATEPRESCALER_8;
  hspi1.Init.FirstBit = SPI_FIRSTBIT_MSB;
  hspi1.Init.TIMode = SPI_TIMODE_DISABLE;
  hspi1.Init.CRCCalculation = SPI_CRCCALCULATION_DISABLE;
  hspi1.Init.CRCPolynomial = 0x0;
  hspi1.Init.NSSPMode = SPI_NSS_PULSE_ENABLE;
  hspi1.Init.NSSPolarity = SPI_NSS_POLARITY_LOW;
  hspi1.Init.FifoThreshold = SPI_FIFO_THRESHOLD_01DATA;
  hspi1.Init.TxCRCInitializationPattern = SPI_CRC_INITIALIZATION_ALL_ZERO_PATTERN;
  hspi1.Init.RxCRCInitializationPattern = SPI_CRC_INITIALIZATION_ALL_ZERO_PATTERN;
  hspi1.Init.MasterSSIdleness = SPI_MASTER_SS_IDLENESS_00CYCLE;
  hspi1.Init.MasterInterDataIdleness = SPI_MASTER_INTERDATA_IDLENESS_00CYCLE;
  hspi1.Init.MasterReceiverAutoSusp = SPI_MASTER_RX_AUTOSUSP_DISABLE;
  hspi1.Init.MasterKeepIOState = SPI_MASTER_KEEP_IO_STATE_DISABLE;
  hspi1.Init.IOSwap = SPI_IO_SWAP_DISABLE;
  if (HAL_SPI_Init(&hspi1) != HAL_OK)
  {
    Error_Handler();
  }

}

static void MX_SPI2_Init(void)
{

  /* SPI2 parameter configuration*/
  hspi2.Instance = SPI2;
  hspi2.Init.Mode = SPI_MODE_MASTER;
  hspi2.Init.Direction = SPI_DIRECTION_2LINES;
  hspi2.Init.DataSize = SPI_DATASIZE_8BIT;
  hspi2.Init.CLKPolarity = SPI_POLARITY_HIGH;
  hspi2.Init.CLKPhase = SPI_PHASE_2EDGE;
  hspi2.Init.NSS = SPI_NSS_SOFT;
  hspi2.Init.BaudRatePrescaler = SPI_BAUDRATEPRESCALER_16;
  hspi2.Init.FirstBit = SPI_FIRSTBIT_MSB;
  hspi2.Init.TIMode = SPI_TIMODE_DISABLE;
  hspi2.Init.CRCCalculation = SPI_CRCCALCULATION_DISABLE;
  hspi2.Init.CRCPolynomial = 0x0;
  hspi2.Init.NSSPMode = SPI_NSS_PULSE_ENABLE;
  hspi2.Init.NSSPolarity = SPI_NSS_POLARITY_LOW;
  hspi2.Init.FifoThreshold = SPI_FIFO_THRESHOLD_01DATA;
  hspi2.Init.TxCRCInitializationPattern = SPI_CRC_INITIALIZATION_ALL_ZERO_PATTERN;
  hspi2.Init.RxCRCInitializationPattern = SPI_CRC_INITIALIZATION_ALL_ZERO_PATTERN;
  hspi2.Init.MasterSSIdleness = SPI_MASTER_SS_IDLENESS_00CYCLE;
  hspi2.Init.MasterInterDataIdleness = SPI_MASTER_INTERDATA_IDLENESS_00CYCLE;
  hspi2.Init.MasterReceiverAutoSusp = SPI_MASTER_RX_AUTOSUSP_DISABLE;
  hspi2.Init.MasterKeepIOState = SPI_MASTER_KEEP_IO_STATE_DISABLE;
  hspi2.Init.IOSwap = SPI_IO_SWAP_DISABLE;
  if (HAL_SPI_Init(&hspi2) != HAL_OK)
  {
    Error_Handler();
  }

}

static void MX_SPI3_Init(void)
{

  /* SPI3 parameter configuration*/
  hspi3.Instance = SPI3;
  hspi3.Init.Mode = SPI_MODE_MASTER;
  hspi3.Init.Direction = SPI_DIRECTION_2LINES;
  hspi3.Init.DataSize = SPI_DATASIZE_8BIT;
  hspi3.Init.CLKPolarity = SPI_POLARITY_HIGH;
  hspi3.Init.CLKPhase = SPI_PHASE_2EDGE;
  hspi3.Init.NSS = SPI_NSS_SOFT;
  hspi3.Init.BaudRatePrescaler = SPI_BAUDRATEPRESCALER_16;
  hspi3.Init.FirstBit = SPI_FIRSTBIT_MSB;
  hspi3.Init.TIMode = SPI_TIMODE_DISABLE;
  hspi3.Init.CRCCalculation = SPI_CRCCALCULATION_DISABLE;
  hspi3.Init.CRCPolynomial = 0x0;
  hspi3.Init.NSSPMode = SPI_NSS_PULSE_ENABLE;
  hspi3.Init.NSSPolarity = SPI_NSS_POLARITY_LOW;
  hspi3.Init.FifoThreshold = SPI_FIFO_THRESHOLD_01DATA;
  hspi3.Init.TxCRCInitializationPattern = SPI_CRC_INITIALIZATION_ALL_ZERO_PATTERN;
  hspi3.Init.RxCRCInitializationPattern = SPI_CRC_INITIALIZATION_ALL_ZERO_PATTERN;
  hspi3.Init.MasterSSIdleness = SPI_MASTER_SS_IDLENESS_00CYCLE;
  hspi3.Init.MasterInterDataIdleness = SPI_MASTER_INTERDATA_IDLENESS_00CYCLE;
  hspi3.Init.MasterReceiverAutoSusp = SPI_MASTER_RX_AUTOSUSP_DISABLE;
  hspi3.Init.MasterKeepIOState = SPI_MASTER_KEEP_IO_STATE_DISABLE;
  hspi3.Init.IOSwap = SPI_IO_SWAP_DISABLE;
  if (HAL_SPI_Init(&hspi3) != HAL_OK)
  {
    Error_Handler();
  }

}

static void MX_TIM2_Init(void)
{

  TIM_ClockConfigTypeDef sClockSourceConfig = {0};
  TIM_MasterConfigTypeDef sMasterConfig = {0};

  htim2.Instance = TIM2;
  htim2.Init.Prescaler = 0;
  htim2.Init.CounterMode = TIM_COUNTERMODE_UP;
  htim2.Init.Period = 300000;
  htim2.Init.ClockDivision = TIM_CLOCKDIVISION_DIV1;
  htim2.Init.AutoReloadPreload = TIM_AUTORELOAD_PRELOAD_ENABLE;
  if (HAL_TIM_Base_Init(&htim2) != HAL_OK)
  {
    Error_Handler();
  }
  sClockSourceConfig.ClockSource = TIM_CLOCKSOURCE_INTERNAL;
  if (HAL_TIM_ConfigClockSource(&htim2, &sClockSourceConfig) != HAL_OK)
  {
    Error_Handler();
  }
  sMasterConfig.MasterOutputTrigger = TIM_TRGO_RESET;
  sMasterConfig.MasterSlaveMode = TIM_MASTERSLAVEMODE_DISABLE;
  if (HAL_TIMEx_MasterConfigSynchronization(&htim2, &sMasterConfig) != HAL_OK)
  {
    Error_Handler();
  }

}

static void MX_TIM5_Init(void)
{

  LL_TIM_InitTypeDef TIM_InitStruct = {0};
  LL_TIM_OC_InitTypeDef TIM_OC_InitStruct = {0};

  LL_GPIO_InitTypeDef GPIO_InitStruct = {0};

  /* Peripheral clock enable */
  LL_APB1_GRP1_EnableClock(LL_APB1_GRP1_PERIPH_TIM5);

  TIM_InitStruct.Prescaler = 0;
  TIM_InitStruct.CounterMode = LL_TIM_COUNTERMODE_UP;
  TIM_InitStruct.Autoreload = 300000;
  TIM_InitStruct.ClockDivision = LL_TIM_CLOCKDIVISION_DIV1;
  LL_TIM_Init(TIM5, &TIM_InitStruct);
  LL_TIM_EnableARRPreload(TIM5);
  LL_TIM_SetClockSource(TIM5, LL_TIM_CLOCKSOURCE_INTERNAL);
  LL_TIM_OC_EnablePreload(TIM5, LL_TIM_CHANNEL_CH1);
  TIM_OC_InitStruct.OCMode = LL_TIM_OCMODE_PWM1;
  TIM_OC_InitStruct.OCState = LL_TIM_OCSTATE_DISABLE;
  TIM_OC_InitStruct.OCNState = LL_TIM_OCSTATE_DISABLE;
  TIM_OC_InitStruct.CompareValue = 0;
  TIM_OC_InitStruct.OCPolarity = LL_TIM_OCPOLARITY_HIGH;
  LL_TIM_OC_Init(TIM5, LL_TIM_CHANNEL_CH1, &TIM_OC_InitStruct);
  LL_TIM_OC_EnableFast(TIM5, LL_TIM_CHANNEL_CH1);
  LL_TIM_OC_EnablePreload(TIM5, LL_TIM_CHANNEL_CH2);
  LL_TIM_OC_Init(TIM5, LL_TIM_CHANNEL_CH2, &TIM_OC_InitStruct);
  LL_TIM_OC_EnableFast(TIM5, LL_TIM_CHANNEL_CH2);
  LL_TIM_OC_EnablePreload(TIM5, LL_TIM_CHANNEL_CH3);
  LL_TIM_OC_Init(TIM5, LL_TIM_CHANNEL_CH3, &TIM_OC_InitStruct);
  LL_TIM_OC_EnableFast(TIM5, LL_TIM_CHANNEL_CH3);
  LL_TIM_OC_EnablePreload(TIM5, LL_TIM_CHANNEL_CH4);
  LL_TIM_OC_Init(TIM5, LL_TIM_CHANNEL_CH4, &TIM_OC_InitStruct);
  LL_TIM_OC_EnableFast(TIM5, LL_TIM_CHANNEL_CH4);
  LL_TIM_SetTriggerOutput(TIM5, LL_TIM_TRGO_RESET);
  LL_TIM_DisableMasterSlaveMode(TIM5);
  LL_AHB4_GRP1_EnableClock(LL_AHB4_GRP1_PERIPH_GPIOA);
  /**TIM5 GPIO Configuration
  PA0   ------> TIM5_CH1
  PA1   ------> TIM5_CH2
  PA2   ------> TIM5_CH3
  PA3   ------> TIM5_CH4
  */
  GPIO_InitStruct.Pin = LL_GPIO_PIN_0|LL_GPIO_PIN_1|LL_GPIO_PIN_2|LL_GPIO_PIN_3;
  GPIO_InitStruct.Mode = LL_GPIO_MODE_ALTERNATE;
  GPIO_InitStruct.Speed = LL_GPIO_SPEED_FREQ_LOW;
  GPIO_InitStruct.OutputType = LL_GPIO_OUTPUT_PUSHPULL;
  GPIO_InitStruct.Pull = LL_GPIO_PULL_NO;
  GPIO_InitStruct.Alternate = LL_GPIO_AF_2;
  LL_GPIO_Init(GPIOA, &GPIO_InitStruct);

}

static void MX_UART4_Init(void)
{

  LL_USART_InitTypeDef UART_InitStruct = {0};

  LL_GPIO_InitTypeDef GPIO_InitStruct = {0};
  RCC_PeriphCLKInitTypeDef PeriphClkInitStruct = {0};

  /** Initializes the peripherals clock
  */
  PeriphClkInitStruct.PeriphClockSelection = RCC_PERIPHCLK_UART4;
  PeriphClkInitStruct.Usart234578ClockSelection = RCC_USART234578CLKSOURCE_D2PCLK1;
  if (HAL_RCCEx_PeriphCLKConfig(&PeriphClkInitStruct) != HAL_OK)
  {
    Error_Handler();
  }

  /* Peripheral clock enable */
  LL_APB1_GRP1_EnableClock(LL_APB1_GRP1_PERIPH_UART4);

  LL_AHB4_GRP1_EnableClock(LL_AHB4_GRP1_PERIPH_GPIOA);
  /**UART4 GPIO Configuration
  PA11   ------> UART4_RX
  PA12   ------> UART4_TX
  */
  GPIO_InitStruct.Pin = LL_GPIO_PIN_11|LL_GPIO_PIN_12;
  GPIO_InitStruct.Mode = LL_GPIO_MODE_ALTERNATE;
  GPIO_InitStruct.Speed = LL_GPIO_SPEED_FREQ_LOW;
  GPIO_InitStruct.OutputType = LL_GPIO_OUTPUT_PUSHPULL;
  GPIO_InitStruct.Pull = LL_GPIO_PULL_NO;
  GPIO_InitStruct.Alternate = LL_GPIO_AF_6;
  LL_GPIO_Init(GPIOA, &GPIO_InitStruct);

  /* UART4 interrupt Init */
  NVIC_SetPriority(UART4_IRQn, NVIC_EncodePriority(NVIC_GetPriorityGrouping(),0, 0));
  NVIC_EnableIRQ(UART4_IRQn);

  UART_InitStruct.BaudRate = 9600;
  UART_InitStruct.DataWidth = LL_USART_DATAWIDTH_8B;
  UART_InitStruct.StopBits = LL_USART_STOPBITS_1;
  UART_InitStruct.Parity = LL_USART_PARITY_NONE;
  UART_InitStruct.TransferDirection = LL_USART_DIRECTION_TX_RX;
  UART_InitStruct.HardwareFlowControl = LL_USART_HWCONTROL_NONE;
  UART_InitStruct.OverSampling = LL_USART_OVERSAMPLING_16;
  UART_InitStruct.PrescalerValue = LL_USART_PRESCALER_DIV1;

  LL_USART_Init(UART4, &UART_InitStruct);
  LL_USART_DisableFIFO(UART4);
  LL_USART_SetTXFIFOThreshold(UART4, LL_USART_FIFOTHRESHOLD_1_8);
  LL_USART_SetRXFIFOThreshold(UART4, LL_USART_FIFOTHRESHOLD_1_8);
  LL_USART_ConfigAsyncMode(UART4);

  LL_USART_Enable(UART4);

  /* Polling UART4 initialisation */
  while((!(LL_USART_IsActiveFlag_TEACK(UART4))) || (!(LL_USART_IsActiveFlag_REACK(UART4))))
  {
  }

}

static void MX_UART5_Init(void)
{

  LL_USART_InitTypeDef UART_InitStruct = {0};

  LL_GPIO_InitTypeDef GPIO_InitStruct = {0};
  RCC_PeriphCLKInitTypeDef PeriphClkInitStruct = {0};

  /** Initializes the peripherals clock
  */
  PeriphClkInitStruct.PeriphClockSelection = RCC_PERIPHCLK_UART5;
  PeriphClkInitStruct.Usart234578ClockSelection = RCC_USART234578CLKSOURCE_D2PCLK1;
  if (HAL_RCCEx_PeriphCLKConfig(&PeriphClkInitStruct) != HAL_OK)
  {
    Error_Handler();
  }

  /* Peripheral clock enable */
  LL_APB1_GRP1_EnableClock(LL_APB1_GRP1_PERIPH_UART5);

  LL_AHB4_GRP1_EnableClock(LL_AHB4_GRP1_PERIPH_GPIOB);
  /**UART5 GPIO Configuration
  PB12   ------> UART5_RX
  PB13   ------> UART5_TX
  */
  GPIO_InitStruct.Pin = LL_GPIO_PIN_12|LL_GPIO_PIN_13;
  GPIO_InitStruct.Mode = LL_GPIO_MODE_ALTERNATE;
  GPIO_InitStruct.Speed = LL_GPIO_SPEED_FREQ_LOW;
  GPIO_InitStruct.OutputType = LL_GPIO_OUTPUT_PUSHPULL;
  GPIO_InitStruct.Pull = LL_GPIO_PULL_NO;
  GPIO_InitStruct.Alternate = LL_GPIO_AF_14;
  LL_GPIO_Init(GPIOB, &GPIO_InitStruct);

  /* UART5 interrupt Init */
  NVIC_SetPriority(UART5_IRQn, NVIC_EncodePriority(NVIC_GetPriorityGrouping(),0, 0));
  NVIC_EnableIRQ(UART5_IRQn);

  UART_InitStruct.BaudRate = 115200;
  UART_InitStruct.DataWidth = LL_USART_DATAWIDTH_8B;
  UART_InitStruct.StopBits = LL_USART_STOPBITS_1;
  UART_InitStruct.Parity = LL_USART_PARITY_NONE;
  UART_InitStruct.TransferDirection = LL_USART_DIRECTION_TX_RX;
  UART_InitStruct.HardwareFlowControl = LL_USART_HWCONTROL_NONE;
  UART_InitStruct.OverSampling = LL_USART_OVERSAMPLING_16;
  UART_InitStruct.PrescalerValue = LL_USART_PRESCALER_DIV1;

  LL_USART_Init(UART5, &UART_InitStruct);
  LL_USART_DisableFIFO(UART5);
  LL_USART_SetTXFIFOThreshold(UART5, LL_USART_FIFOTHRESHOLD_1_8);
  LL_USART_SetRXFIFOThreshold(UART5, LL_USART_FIFOTHRESHOLD_1_8);
  LL_USART_ConfigAsyncMode(UART5);

  LL_USART_Enable(UART5);

  /* Polling UART5 initialisation */
  while((!(LL_USART_IsActiveFlag_TEACK(UART5))) || (!(LL_USART_IsActiveFlag_REACK(UART5))))
  {
  }

}

static void MX_USART1_UART_Init(void)
{

  LL_USART_InitTypeDef USART_InitStruct = {0};

  LL_GPIO_InitTypeDef GPIO_InitStruct = {0};
  RCC_PeriphCLKInitTypeDef PeriphClkInitStruct = {0};

  /** Initializes the peripherals clock
  */
  PeriphClkInitStruct.PeriphClockSelection = RCC_PERIPHCLK_USART1;
  PeriphClkInitStruct.Usart16ClockSelection = RCC_USART16CLKSOURCE_D2PCLK2;
  if (HAL_RCCEx_PeriphCLKConfig(&PeriphClkInitStruct) != HAL_OK)
  {
    Error_Handler();
  }

  /* Peripheral clock enable */
  LL_APB2_GRP1_EnableClock(LL_APB2_GRP1_PERIPH_USART1);

  LL_AHB4_GRP1_EnableClock(LL_AHB4_GRP1_PERIPH_GPIOB);
  /**USART1 GPIO Configuration
  PB14   ------> USART1_TX
  PB15   ------> USART1_RX
  */
  GPIO_InitStruct.Pin = LL_GPIO_PIN_14|LL_GPIO_PIN_15;
  GPIO_InitStruct.Mode = LL_GPIO_MODE_ALTERNATE;
  GPIO_InitStruct.Speed = LL_GPIO_SPEED_FREQ_LOW;
  GPIO_InitStruct.OutputType = LL_GPIO_OUTPUT_PUSHPULL;
  GPIO_InitStruct.Pull = LL_GPIO_PULL_NO;
  GPIO_InitStruct.Alternate = LL_GPIO_AF_4;
  LL_GPIO_Init(GPIOB, &GPIO_InitStruct);

  /* USART1 interrupt Init */
  NVIC_SetPriority(USART1_IRQn, NVIC_EncodePriority(NVIC_GetPriorityGrouping(),0, 0));
  NVIC_EnableIRQ(USART1_IRQn);

  USART_InitStruct.PrescalerValue = LL_USART_PRESCALER_DIV1;
  USART_InitStruct.BaudRate = 115200;
  USART_InitStruct.DataWidth = LL_USART_DATAWIDTH_8B;
  USART_InitStruct.StopBits = LL_USART_STOPBITS_1;
  USART_InitStruct.Parity = LL_USART_PARITY_NONE;
  USART_InitStruct.TransferDirection = LL_USART_DIRECTION_TX_RX;
  USART_InitStruct.HardwareFlowControl = LL_USART_HWCONTROL_NONE;
  USART_InitStruct.OverSampling = LL_USART_OVERSAMPLING_16;
  LL_USART_Init(USART1, &USART_InitStruct);
  LL_USART_SetTXFIFOThreshold(USART1, LL_USART_FIFOTHRESHOLD_1_8);
  LL_USART_SetRXFIFOThreshold(USART1, LL_USART_FIFOTHRESHOLD_1_8);
  LL_USART_DisableFIFO(USART1);
  LL_USART_ConfigAsyncMode(USART1);

  LL_USART_Enable(USART1);

  /* Polling USART1 initialisation */
  while((!(LL_USART_IsActiveFlag_TEACK(USART1))) || (!(LL_USART_IsActiveFlag_REACK(USART1))))
  {
  }

}

static void MX_DMA_Init(void)
{

  /* DMA controller clock enable */
  __HAL_RCC_DMA1_CLK_ENABLE();

  /* DMA interrupt init */
  /* DMA1_Stream0_IRQn interrupt configuration */
  HAL_NVIC_SetPriority(DMA1_Stream0_IRQn, 0, 0);
  HAL_NVIC_EnableIRQ(DMA1_Stream0_IRQn);
  /* DMA1_Stream1_IRQn interrupt configuration */
  HAL_NVIC_SetPriority(DMA1_Stream1_IRQn, 0, 0);
  HAL_NVIC_EnableIRQ(DMA1_Stream1_IRQn);
  /* DMA1_Stream2_IRQn interrupt configuration */
  HAL_NVIC_SetPriority(DMA1_Stream2_IRQn, 0, 0);
  HAL_NVIC_EnableIRQ(DMA1_Stream2_IRQn);
  /* DMA1_Stream3_IRQn interrupt configuration */
  HAL_NVIC_SetPriority(DMA1_Stream3_IRQn, 0, 0);
  HAL_NVIC_EnableIRQ(DMA1_Stream3_IRQn);
  /* DMA1_Stream4_IRQn interrupt configuration */
  HAL_NVIC_SetPriority(DMA1_Stream4_IRQn, 0, 0);
  HAL_NVIC_EnableIRQ(DMA1_Stream4_IRQn);
  /* DMA1_Stream5_IRQn interrupt configuration */
  HAL_NVIC_SetPriority(DMA1_Stream5_IRQn, 0, 0);
  HAL_NVIC_EnableIRQ(DMA1_Stream5_IRQn);

}

static void MX_GPIO_Init(void)
{
  GPIO_InitTypeDef GPIO_InitStruct = {0};

  /* GPIO Ports Clock Enable */
  __HAL_RCC_GPIOE_CLK_ENABLE();
  __HAL_RCC_GPIOH_CLK_ENABLE();
  __HAL_RCC_GPIOC_CLK_ENABLE();
  __HAL_RCC_GPIOA_CLK_ENABLE();
  __HAL_RCC_GPIOB_CLK_ENABLE();

  /*Configure GPIO pin Output Level */
  HAL_GPIO_WritePin(GPIOE, GPIO_PIN_4|GPIO_PIN_8|GPIO_PIN_14, GPIO_PIN_RESET);

  /*Configure GPIO pin Output Level */
  HAL_GPIO_WritePin(GPIOC, GPIO_PIN_4, GPIO_PIN_SET);

  /*Configure GPIO pin Output Level */
  HAL_GPIO_WritePin(GPIOB, GPIO_PIN_1|GPIO_PIN_11, GPIO_PIN_SET);

  /*Configure GPIO pin Output Level */
  HAL_GPIO_WritePin(GPIOB, GPIO_PIN_7, GPIO_PIN_RESET);

  /*Configure GPIO pins : PE4 PE8 PE14 */
  GPIO_InitStruct.Pin = GPIO_PIN_4|GPIO_PIN_8|GPIO_PIN_14;
  GPIO_InitStruct.Mode = GPIO_MODE_OUTPUT_PP;
  GPIO_InitStruct.Pull = GPIO_NOPULL;
  GPIO_InitStruct.Speed = GPIO_SPEED_FREQ_LOW;
  HAL_GPIO_Init(GPIOE, &GPIO_InitStruct);

  /*Configure GPIO pin : PC4 */
  GPIO_InitStruct.Pin = GPIO_PIN_4;
  GPIO_InitStruct.Mode = GPIO_MODE_OUTPUT_PP;
  GPIO_InitStruct.Pull = GPIO_NOPULL;
  GPIO_InitStruct.Speed = GPIO_SPEED_FREQ_LOW;
  HAL_GPIO_Init(GPIOC, &GPIO_InitStruct);

  /*Configure GPIO pin : PB0 */
  GPIO_InitStruct.Pin = GPIO_PIN_0;
  GPIO_InitStruct.Mode = GPIO_MODE_IT_RISING;
  GPIO_InitStruct.Pull = GPIO_NOPULL;
  HAL_GPIO_Init(GPIOB, &GPIO_InitStruct);

  /*Configure GPIO pins : PB1 PB11 PB7 */
  GPIO_InitStruct.Pin = GPIO_PIN_1|GPIO_PIN_11|GPIO_PIN_7;
  GPIO_InitStruct.Mode = GPIO_MODE_OUTPUT_PP;
  GPIO_InitStruct.Pull = GPIO_NOPULL;
  GPIO_InitStruct.Speed = GPIO_SPEED_FREQ_LOW;
  HAL_GPIO_Init(GPIOB, &GPIO_InitStruct);

  /*Configure GPIO pin : PE15 */
  GPIO_InitStruct.Pin = GPIO_PIN_15;
  GPIO_InitStruct.Mode = GPIO_MODE_IT_RISING;
  GPIO_InitStruct.Pull = GPIO_NOPULL;
  HAL_GPIO_Init(GPIOE, &GPIO_InitStruct);

  /*Configure GPIO pin : PA9 */
  GPIO_InitStruct.Pin = GPIO_PIN_9;
  GPIO_InitStruct.Mode = GPIO_MODE_IT_RISING;
  GPIO_InitStruct.Pull = GPIO_NOPULL;
  HAL_GPIO_Init(GPIOA, &GPIO_InitStruct);

  /*Configure GPIO pin : PB6 */
  GPIO_InitStruct.Pin = GPIO_PIN_6;
  GPIO_InitStruct.Mode = GPIO_MODE_IT_RISING;
  GPIO_InitStruct.Pull = GPIO_PULLDOWN;
  HAL_GPIO_Init(GPIOB, &GPIO_InitStruct);

  /*Configure GPIO pins : PB8 PB9 */
  GPIO_InitStruct.Pin = GPIO_PIN_8|GPIO_PIN_9;
  GPIO_InitStruct.Mode = GPIO_MODE_AF_OD;
  GPIO_InitStruct.Pull = GPIO_PULLUP;
  GPIO_InitStruct.Speed = GPIO_SPEED_FREQ_LOW;
  GPIO_InitStruct.Alternate = GPIO_AF4_I2C1;
  HAL_GPIO_Init(GPIOB, &GPIO_InitStruct);

  /* EXTI interrupt init*/
  HAL_NVIC_SetPriority(EXTI0_IRQn, 0, 0);
  HAL_NVIC_EnableIRQ(EXTI0_IRQn);

  HAL_NVIC_SetPriority(EXTI9_5_IRQn, 0, 0);
  HAL_NVIC_EnableIRQ(EXTI9_5_IRQn);

  HAL_NVIC_SetPriority(EXTI15_10_IRQn, 0, 0);
  HAL_NVIC_EnableIRQ(EXTI15_10_IRQn);

}

/* USER CODE BEGIN 4 */

int Is_iBus_Throttle_Min(void)
{
    if (ibus_rx_cplt_flag == 1)
    {
        ibus_rx_cplt_flag = 0;

        if (iBus_Check_CHKSUM(&ibus_rx_buf[0], 32) == 1)
        {
            iBus_Parsing(&ibus_rx_buf[0], &iBus);

            if (iBus.LV < 1010)
                return 1;
        }
    }

    return 0;
}

//__weak void HAL_UART_RxCpltCallback(UART_HandleTypeDef *huart)
//{
//  /* Prevent unused argument(s) compilation warning */
//  UNUSED(huart);
//
//  /* NOTE : This function should not be modified, when the callback is needed,
//            the HAL_UART_RxCpltCallback can be implemented in the user file.
//   */
//  //HAL_UART_Transmit(&huart1, rx_data, sizeof(rx_data), HAL_MAX_DELAY);
//}
/* USER CODE END 4 */

 /* MPU Configuration */

void MPU_Config(void)
{
  MPU_Region_InitTypeDef MPU_InitStruct = {0};

  /* Disables the MPU */
  HAL_MPU_Disable();

  /** Initializes and configures the Region and the memory to be protected
  */
  MPU_InitStruct.Enable = MPU_REGION_ENABLE;
  MPU_InitStruct.Number = MPU_REGION_NUMBER0;
  MPU_InitStruct.BaseAddress = 0x0;
  MPU_InitStruct.Size = MPU_REGION_SIZE_4GB;
  MPU_InitStruct.SubRegionDisable = 0x87;
  MPU_InitStruct.TypeExtField = MPU_TEX_LEVEL0;
  MPU_InitStruct.AccessPermission = MPU_REGION_NO_ACCESS;
  MPU_InitStruct.DisableExec = MPU_INSTRUCTION_ACCESS_DISABLE;
  MPU_InitStruct.IsShareable = MPU_ACCESS_SHAREABLE;
  MPU_InitStruct.IsCacheable = MPU_ACCESS_NOT_CACHEABLE;
  MPU_InitStruct.IsBufferable = MPU_ACCESS_NOT_BUFFERABLE;

  HAL_MPU_ConfigRegion(&MPU_InitStruct);
  /* Enables the MPU */
  HAL_MPU_Enable(MPU_PRIVILEGED_DEFAULT);

}

void Error_Handler(void)
{
  __disable_irq();
  while (1)
  {
  }
}
